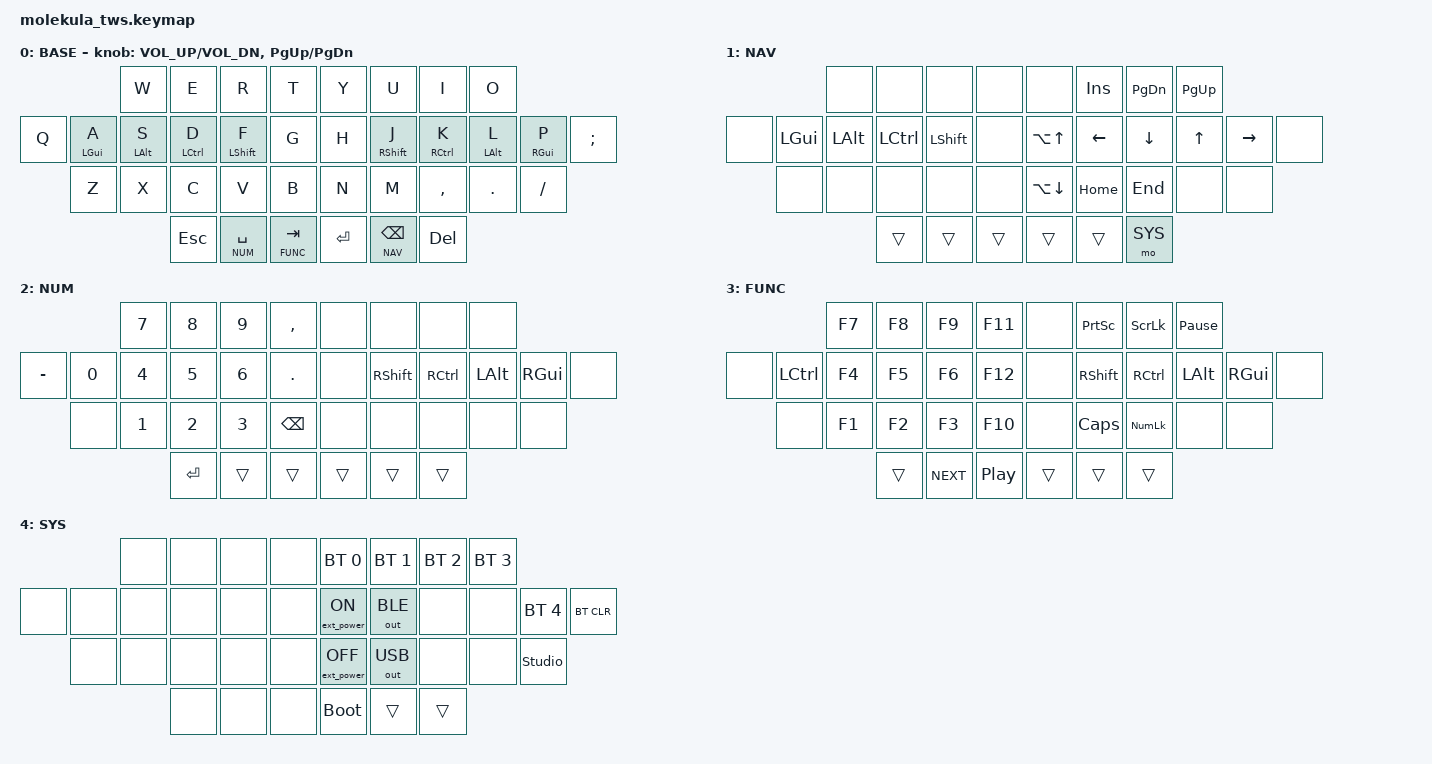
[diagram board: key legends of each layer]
/*
 * Copyright (c) 2020 The ZMK Contributors
 *
 * SPDX-License-Identifier: MIT
 */

#include <behaviors.dtsi>
#include <dt-bindings/zmk/keys.h>
#include <dt-bindings/zmk/bt.h>
#include <dt-bindings/zmk/outputs.h>
#include <dt-bindings/zmk/ext_power.h>

#define BASE 0
#define NAV 1
#define NUM 2
#define FUNC 3
#define SYS 4

/ {
    behaviors {
        hm: homerow_mods {
            compatible = "zmk,behavior-hold-tap";
            #binding-cells = <2>;
            tapping-term-ms = <200>;
            flavor = "tap-preferred";
            bindings = <&kp>, <&kp>;
        };
    };

    keymap {
        compatible = "zmk,keymap";

        default_layer {
            display-name = "BASE";

            bindings = <
                                       &kp W         &kp E          &kp R         &kp T            &kp Y    &kp U         &kp I          &kp O
                &kp Q    &hm LGUI A    &hm LALT S    &hm LCTRL D    &hm LSHFT F   &kp G            &kp H    &hm RSHFT J   &hm RCTRL K    &hm LALT L    &hm RGUI P  &kp SEMI
                         &kp Z         &kp X         &kp C          &kp V         &kp B            &kp N    &kp M         &kp COMMA      &kp DOT       &kp SLASH
                                                 &kp ESC  &lt NUM SPACE  &lt FUNC TAB        &kp ENTER  &lt NAV BSPC  &kp DEL
            >;

            sensor-bindings = <&inc_dec_kp C_VOL_UP C_VOL_DN &inc_dec_kp PG_UP PG_DN>;
        };

        nav_layer {
            display-name = "NAV";

            bindings = < 
                                   &none      &none        &none       &none              &none         &kp INS    &kp PG_DN    &kp PG_UP
                &none    &kp LGUI  &kp LALT   &kp LCTRL    &kp LSHFT   &none              &kp LA(UP)    &kp LEFT   &kp DOWN     &kp UP       &kp RIGHT    &none
                         &none     &none      &none        &none       &none              &kp LA(DOWN)  &kp HOME   &kp END      &none        &none
                                                    &trans     &trans     &trans        &trans      &trans     &mo SYS
            >;
        };

        num_layer {
            display-name = "NUM";

            bindings = <
                                       &kp N7      &kp N8      &kp N9      &kp COMMA          &none      &none        &none       &none
                 &kp MINUS  &kp N0     &kp N4      &kp N5      &kp N6      &kp DOT            &none      &kp RSHFT    &kp RCTRL   &kp LALT   &kp RGUI     &none
                            &none      &kp N1      &kp N2      &kp N3      &kp BSPC           &none      &none        &none       &none      &none
                                                      &kp ENTER     &trans     &trans       &trans      &trans     &trans
            >;
        };

        func_layer {
            display-name = "FUNC";

            bindings = <
                                       &kp F7      &kp F8      &kp F9      &kp F11             &none        &kp PSCRN    &kp SLCK     &kp PAUSE_BREAK
                &none      &kp LCTRL   &kp F4      &kp F5      &kp F6      &kp F12             &none        &kp RSHFT    &kp RCTRL    &kp LALT         &kp RGUI    &none
                           &none       &kp F1      &kp F2      &kp F3      &kp F10             &none        &kp CAPS     &kp KP_NUM   &none            &none
                                                 &trans     &kp C_NEXT     &kp C_PP        &trans      &trans     &trans
            >;
        };

        sys_layer {
            display-name = "SYS";

            bindings = <
                                    &none     &none     &none     &none           &bt BT_SEL 0       &bt BT_SEL 1  &bt BT_SEL 2  &bt BT_SEL 3
                &none     &none     &none     &none     &none     &none           &ext_power EP_ON   &out OUT_BLE  &none         &none         &bt BT_SEL 4     &bt BT_CLR
                          &none     &none     &none     &none     &none           &ext_power EP_OFF  &out OUT_USB  &none         &none         &studio_unlock
                                                &none     &none     &none       &bootloader     &trans      &trans
            >;
        };

        extra1 {
            status = "reserved";
        };

        extra2 {
            status = "reserved";
        };

        extra3 {
            status = "reserved";
        };
    };
};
